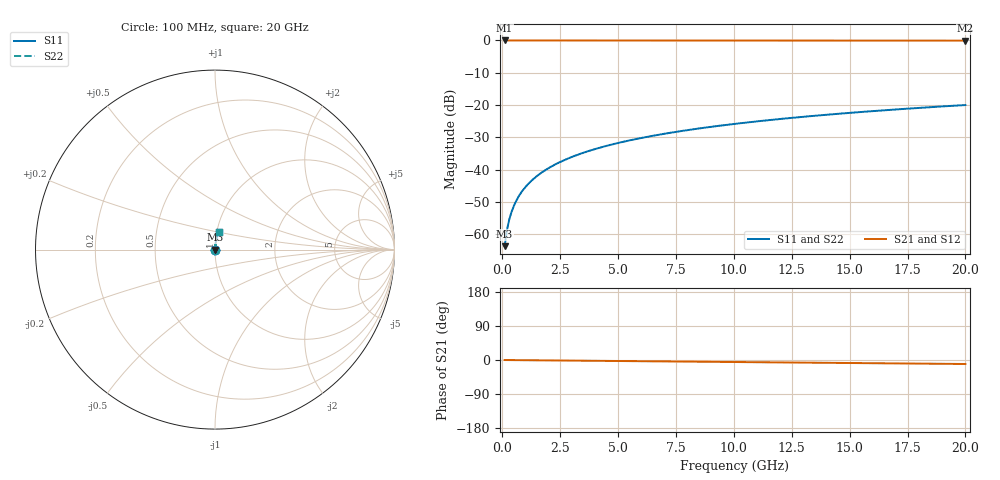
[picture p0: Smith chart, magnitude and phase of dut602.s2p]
! Touchstone file exported from HFSS 2026.1.0
!  File:  C:/ffzhzh/LocalFiles/Ansys_Project_Files/temp_train_TSV_602_1783025486_46388.aedt
!  Generated:  04:53:35 AM Jul  3, 2026
!  Design:  TSV
!  Project:  temp_train_TSV_602_1783025486_46388
! Variables:
!  h_bsmrdl = 2um
!  h_ox = 20um
!  h_rdl = 5um
!  h_sub = 83.88um
!  h_tmrdl = 5um
!  h_tsv = 83.88um
!  h_via = 3um
!  l_bsmrdl = 300um
!  l_sub = 410.96um
!  l_tmrdl = 200um
!  m_sub = 200um
!  pitch = 55.71um
!  r_tsv = 5.48um
!  s_tmrdl = 10um
!  w_bsmrdl = 18um
!  w_sub = 500um
!  w_tmrdl = 12um
!  x_tsv_center1 = 206um
!  x_tsv_center2 = 524um
!  x_tsv_center3 = 736um
!  x_tsv_center4 = 1054um
!  x_tsv_center5 = 1266um
!  x_tsv_center6 = 1584um
# GHz S MA R 50.000000
! Terminal data exported
! Port[1] = TSV1_1_T1
! Port[2] = TSV1_1_T2
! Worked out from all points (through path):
!   200 points, 100 MHz to 20 GHz, reference 50 ohm
!   highest |S21| = 0.00 dB at 100 MHz (marker M1); lowest = -0.1 dB at 20 GHz (marker M2)
!   group delay of S21, straight-line fit = 1.46 ps
!   lowest |S11| = -63.8 dB at 100 MHz (marker M3), VSWR 1.00, Z = 50 + j0.0546 ohm
!   |S11| at or under -10 dB: start of sweep to end of sweep
!   |S22| runs from -63.8 to -20.0 dB; largest |S21 - S12| = 2.1e-15
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0.1  0.0006491 57.3  0.9996 -0.1  0.9996 -0.1  0.0006491 57.3
! Gamma 0 0 0 0
! Port Impedance 50 0 50 0
0.2  0.001148 71.7  0.9996 -0.1  0.9996 -0.1  0.001148 71.7
0.3  0.001675 77.0  0.9996 -0.2  0.9996 -0.2  0.001675 77.0
0.4  0.002205 79.7  0.9996 -0.2  0.9996 -0.2  0.002205 79.7
0.5  0.002735 81.2  0.9996 -0.3  0.9996 -0.3  0.002735 81.2
0.6  0.003263 82.2  0.9996 -0.3  0.9996 -0.3  0.003263 82.2
0.7  0.003789 82.9  0.9995 -0.4  0.9995 -0.4  0.003789 82.9
0.8  0.004312 83.4  0.9995 -0.4  0.9995 -0.4  0.004312 83.4
1  0.005354 84.1  0.9995 -0.5  0.9995 -0.5  0.005354 84.1
1.4  0.007424 84.9  0.9994 -0.8  0.9994 -0.8  0.007424 84.9
1.7  0.00897 85.2  0.9993 -0.9  0.9993 -0.9  0.00897 85.2
2  0.01051 85.4  0.9993 -1.1  0.9993 -1.1  0.01051 85.4
2.7  0.0141 85.5  0.9992 -1.5  0.9992 -1.5  0.0141 85.5
3.5  0.01818 85.5  0.999 -1.9  0.999 -1.9  0.01818 85.5
4.2  0.02173 85.3  0.9988 -2.3  0.9988 -2.3  0.02173 85.3
5  0.02577 85.0  0.9986 -2.7  0.9986 -2.7  0.02577 85.0
6.8  0.03481 84.4  0.9982 -3.6  0.9982 -3.6  0.03481 84.4
8.3  0.04231 83.8  0.9978 -4.4  0.9978 -4.4  0.04231 83.8
10.1  0.05127 83.0  0.9972 -5.4  0.9972 -5.4  0.05127 83.0
13.4  0.0676 81.5  0.9961 -7.1  0.9961 -7.1  0.0676 81.5
16.7  0.0838 79.9  0.9946 -8.8  0.9946 -8.8  0.0838 79.9
20  0.09981 78.3  0.993 -10.6  0.993 -10.6  0.09981 78.3
